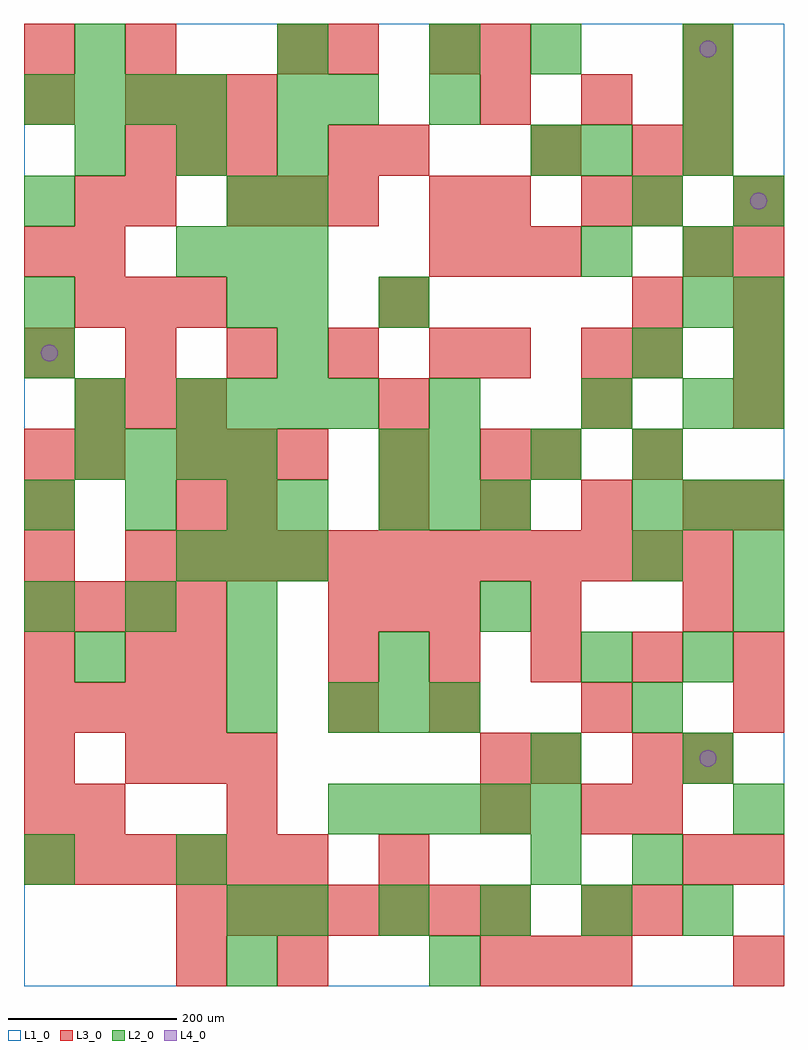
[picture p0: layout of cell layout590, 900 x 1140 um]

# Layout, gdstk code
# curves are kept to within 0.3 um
import gdstk
lib = gdstk.Library(unit=1e-6, precision=1e-09)
def R(c, l, rs):  # rectangles x0, y0, x1, y1
    for r in rs: c.add(gdstk.rectangle(r[:2], r[2:], *l))
def A(c, l, x, y, w, h, nx, ny, dx, dy):  # array of equal rectangles
    R(c, l, [(x+i*dx, y+j*dy, x+i*dx+w, y+j*dy+h) for i in range(nx) for j in range(ny)])
def P(c, l, *ps):  # polygons
    for p in ps: c.add(gdstk.Polygon(p, *l))
L1_0 = (1, 0)
L2_0 = (2, 0)
L3_0 = (3, 0)
L4_0 = (4, 0)

layout590 = lib.new_cell('layout590')
R(layout590, L1_0, [(0,0,900,1140)])
A(layout590, L2_0, 300, 60, 60, 60, 5, 1, 120, 0)
A(layout590, L2_0, 720, 120, 60, 60, 1, 3, 0, 180)
A(layout590, L2_0, 360, 180, 60, 60, 5, 1, 60, 0)
A(layout590, L2_0, 360, 300, 60, 60, 3, 1, 60, 0)
A(layout590, L2_0, 60, 360, 60, 60, 3, 1, 180, 0)
A(layout590, L2_0, 0, 420, 60, 60, 3, 2, 120, 120)
A(layout590, L2_0, 180, 480, 60, 60, 3, 2, 60, 360)
A(layout590, L2_0, 420, 540, 60, 60, 3, 1, 60, 0)
A(layout590, L2_0, 720, 540, 60, 60, 3, 1, 60, 0)
A(layout590, L2_0, 60, 600, 60, 60, 4, 1, 60, 0)
A(layout590, L2_0, 480, 600, 60, 60, 3, 1, 120, 0)
A(layout590, L2_0, 180, 660, 60, 60, 4, 1, 60, 0)
A(layout590, L2_0, 840, 660, 60, 60, 1, 3, 0, 60)
A(layout590, L2_0, 300, 780, 60, 60, 1, 3, 0, 120)
A(layout590, L2_0, 60, 960, 60, 60, 3, 1, 120, 0)
A(layout590, L2_0, 780, 960, 60, 60, 1, 3, 0, 60)
A(layout590, L2_0, 0, 1020, 60, 60, 4, 1, 60, 0)
R(layout590, L2_0, [(240,0,300,60), (480,0,540,60), (240,60,300,120), (0,120,60,180), (180,120,240,180), (600,120,660,180), (840,180,900,240), (600,240,660,300), (780,240,840,300), (240,300,300,360), (660,360,720,420), (780,360,840,420), (540,420,600,480), (840,420,900,480), (840,480,900,540), (300,540,360,600), (420,600,480,660), (60,660,120,720), (480,660,540,720), (660,660,720,720), (780,660,840,720), (0,720,60,780), (300,720,360,780), (720,720,780,780), (0,780,60,840), (240,780,300,840), (420,780,480,840), (780,780,840,840), (660,840,720,900), (780,840,840,900), (0,900,60,960), (240,900,300,960), (720,900,780,960), (840,900,900,960), (600,960,660,1020), (660,960,720,1020), (360,1020,420,1080), (480,1020,540,1080), (60,1080,120,1140), (300,1080,360,1140), (480,1080,540,1140), (600,1080,660,1140)])
A(layout590, L3_0, 540, 0, 60, 60, 3, 1, 60, 0)
A(layout590, L3_0, 180, 60, 60, 60, 7, 1, 60, 0)
A(layout590, L3_0, 0, 120, 60, 60, 6, 1, 60, 0)
A(layout590, L3_0, 0, 240, 60, 60, 1, 3, 0, 120)
A(layout590, L3_0, 120, 240, 60, 60, 3, 2, 60, 720)
A(layout590, L3_0, 600, 240, 60, 60, 1, 3, 0, 180)
A(layout590, L3_0, 0, 300, 60, 60, 4, 2, 60, 120)
A(layout590, L3_0, 480, 300, 60, 60, 3, 1, 180, 0)
A(layout590, L3_0, 360, 360, 60, 60, 5, 1, 120, 0)
A(layout590, L3_0, 360, 420, 60, 60, 3, 1, 60, 0)
A(layout590, L3_0, 120, 480, 60, 60, 12, 1, 60, 0)
A(layout590, L3_0, 420, 540, 60, 60, 4, 1, 120, 0)
A(layout590, L3_0, 180, 600, 60, 60, 3, 1, 60, 0)
A(layout590, L3_0, 60, 660, 60, 60, 3, 2, 60, 120)
A(layout590, L3_0, 840, 660, 60, 60, 1, 5, 0, 60)
A(layout590, L3_0, 0, 720, 60, 60, 5, 1, 120, 0)
A(layout590, L3_0, 540, 720, 60, 60, 1, 3, 0, 180)
A(layout590, L3_0, 480, 840, 60, 60, 3, 1, 60, 0)
A(layout590, L3_0, 780, 840, 60, 60, 1, 3, 0, 120)
A(layout590, L3_0, 240, 900, 60, 60, 3, 1, 60, 0)
A(layout590, L3_0, 120, 1020, 60, 60, 3, 1, 60, 0)
A(layout590, L3_0, 540, 1020, 60, 60, 3, 1, 120, 0)
R(layout590, L3_0, [(180,0,240,60), (300,0,360,60), (840,0,900,60), (660,60,720,120), (720,60,780,120), (420,120,480,180), (780,120,840,180), (840,120,900,180), (0,180,60,240), (60,180,120,240), (240,180,300,240), (540,180,600,240), (660,180,720,240), (720,180,780,240), (540,240,600,300), (720,240,780,300), (780,240,840,300), (360,300,420,360), (120,360,180,420), (180,360,240,420), (780,420,840,480), (0,540,60,600), (180,540,240,600), (240,540,300,600), (840,540,900,600), (0,600,60,660), (60,600,120,660), (420,600,480,660), (540,600,600,660), (720,600,780,660), (420,660,480,720), (660,660,720,720), (660,720,720,780), (720,720,780,780), (420,780,480,840), (720,780,780,840), (0,840,60,900), (60,840,120,900), (60,900,120,960), (120,900,180,960), (480,900,540,960), (660,900,720,960), (720,900,780,960), (360,960,420,1020), (420,960,480,1020), (600,960,660,1020), (720,960,780,1020), (0,1020,60,1080), (0,1080,60,1140), (120,1080,180,1140), (300,1080,360,1140), (360,1080,420,1140), (480,1080,540,1140)])
P(layout590, L4_0, [(40,750),(39.239,753.827),(37.071,757.071),(33.827,759.239),(30,760),(26.173,759.239),(22.929,757.071),(20.761,753.827),(20,750),(20.761,746.173),(22.929,742.929),(26.173,740.761),(30,740),(33.827,740.761),(37.071,742.929),(39.239,746.173)],
  [(820,270),(819.239,273.827),(817.071,277.071),(813.827,279.239),(810,280),(806.173,279.239),(802.929,277.071),(800.761,273.827),(800,270),(800.761,266.173),(802.929,262.929),(806.173,260.761),(810,260),(813.827,260.761),(817.071,262.929),(819.239,266.173)],
  [(820,1110),(819.239,1113.827),(817.071,1117.071),(813.827,1119.239),(810,1120),(806.173,1119.239),(802.929,1117.071),(800.761,1113.827),(800,1110),(800.761,1106.173),(802.929,1102.929),(806.173,1100.761),(810,1100),(813.827,1100.761),(817.071,1102.929),(819.239,1106.173)],
  [(880,930),(879.239,933.827),(877.071,937.071),(873.827,939.239),(870,940),(866.173,939.239),(862.929,937.071),(860.761,933.827),(860,930),(860.761,926.173),(862.929,922.929),(866.173,920.761),(870,920),(873.827,920.761),(877.071,922.929),(879.239,926.173)])

lib.write_gds('layout590.gds')
